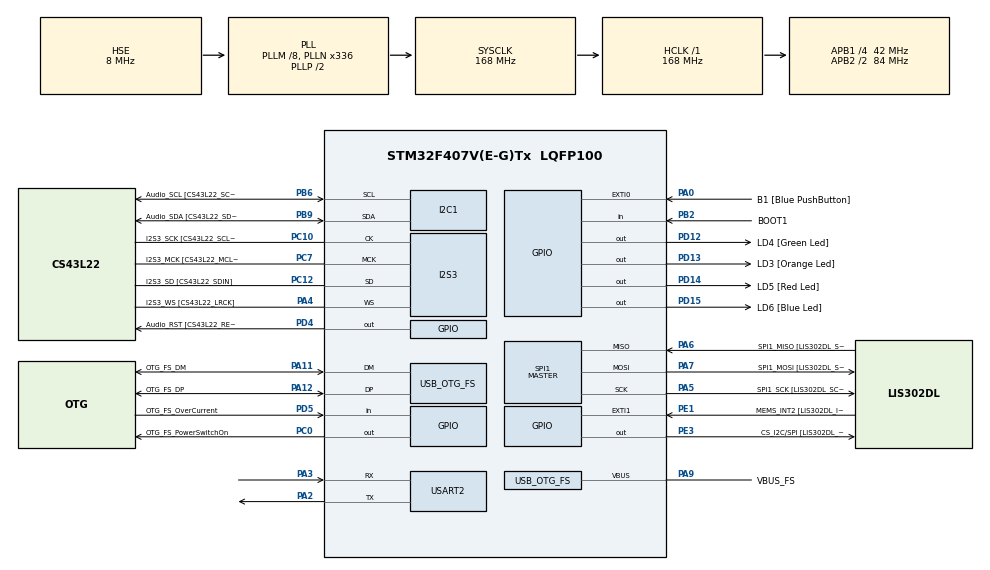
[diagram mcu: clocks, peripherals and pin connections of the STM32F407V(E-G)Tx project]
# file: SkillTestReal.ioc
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FREERTOS.Tasks01=defaultTask,0,128,StartDefaultTask,Default,NULL
FREERTOS.configUSE_TIMERS=1
I2S3.AudioFreq-Half_Duplex_Master=I2S_AUDIOFREQ_96K
I2S3.ErrorAudioFreq=-2.34 %
I2S3.ErrorAudioFreq-Half_Duplex_Master=0.8 %
I2S3.FullDuplexMode=I2S_FULLDUPLEXMODE_DISABLE
I2S3.Instance=SPI$Index
I2S3.RealAudioFreq=93.75 KHz
I2S3.RealAudioFreq-Half_Duplex_Master=96.774 KHz
I2S3.VirtualMode=I2S_MODE_MASTER
Mcu.Family=STM32F4
Mcu.Name=STM32F407V(E-G)Tx
Mcu.Package=LQFP100
NVIC.EXTI0_IRQn=true\:0\:0\:false\:false\:true\:false\:true\:true
NVIC.OTG_FS_IRQn=true\:5\:0\:false\:false\:true\:true\:true\:true
NVIC.PriorityGroup=NVIC_PRIORITYGROUP_4
PA0-WKUP.GPIO_Label=B1 [Blue PushButton]
PA0-WKUP.GPIO_ModeDefaultEXTI=GPIO_MODE_IT_RISING
PA0-WKUP.GPIO_PuPd=GPIO_NOPULL
PA0-WKUP.Signal=GPXTI0
PA10.GPIO_Label=OTG_FS_ID
PA10.GPIO_Mode=GPIO_MODE_AF_PP
PA10.GPIO_PuPd=GPIO_NOPULL
PA10.GPIO_Speed=GPIO_SPEED_FREQ_LOW
PA10.Signal=USB_OTG_FS_ID
PA11.GPIO_Label=OTG_FS_DM
PA11.GPIO_Mode=GPIO_MODE_AF_PP
PA11.GPIO_PuPd=GPIO_NOPULL
PA11.GPIO_Speed=GPIO_SPEED_FREQ_LOW
PA11.Mode=Host_Only
PA11.Signal=USB_OTG_FS_DM
PA12.GPIO_Label=OTG_FS_DP
PA12.GPIO_Mode=GPIO_MODE_AF_PP
PA12.GPIO_PuPd=GPIO_NOPULL
PA12.GPIO_Speed=GPIO_SPEED_FREQ_LOW
PA12.Mode=Host_Only
PA12.Signal=USB_OTG_FS_DP
PA13.GPIO_Label=SWDIO
PA13.Mode=Serial_Wire
PA13.Signal=SYS_JTMS-SWDIO
PA14.GPIO_Label=SWCLK
PA14.Mode=Serial_Wire
PA14.Signal=SYS_JTCK-SWCLK
PA2.Mode=Asynchronous
PA2.Signal=USART2_TX
PA3.Mode=Asynchronous
PA3.Signal=USART2_RX
PA4.GPIO_Label=I2S3_WS [CS43L22_LRCK]
PA4.GPIO_Mode=GPIO_MODE_AF_PP
PA4.GPIO_PuPd=GPIO_NOPULL
PA4.GPIO_Speed=GPIO_SPEED_FREQ_LOW
PA4.Mode=Half_Duplex_Master
PA4.Signal=I2S3_WS
PA5.GPIO_Label=SPI1_SCK [LIS302DL_SCL/SPC]
PA5.GPIO_Mode=GPIO_MODE_AF_PP
PA5.GPIO_PuPd=GPIO_NOPULL
PA5.GPIO_Speed=GPIO_SPEED_FREQ_LOW
PA5.Mode=Full_Duplex_Master
PA5.Signal=SPI1_SCK
PA6.GPIO_Label=SPI1_MISO [LIS302DL_SDO]
PA6.GPIO_Mode=GPIO_MODE_AF_PP
PA6.GPIO_PuPd=GPIO_NOPULL
PA6.GPIO_Speed=GPIO_SPEED_FREQ_LOW
PA6.Mode=Full_Duplex_Master
PA6.Signal=SPI1_MISO
PA7.GPIO_Label=SPI1_MOSI [LIS302DL_SDA/SDI/SDO]
PA7.GPIO_Mode=GPIO_MODE_AF_PP
PA7.GPIO_PuPd=GPIO_NOPULL
PA7.GPIO_Speed=GPIO_SPEED_FREQ_LOW
PA7.Mode=Full_Duplex_Master
PA7.Signal=SPI1_MOSI
PA9.GPIO_Label=VBUS_FS
PA9.GPIO_Mode=GPIO_MODE_INPUT
PA9.GPIO_PuPd=GPIO_NOPULL
PA9.Mode=Activate_VBUS
PA9.Signal=USB_OTG_FS_VBUS
PB10.GPIO_Label=CLK_IN [MP45DT02_CLK]
PB10.GPIO_Mode=GPIO_MODE_AF_PP
PB10.GPIO_PuPd=GPIO_NOPULL
PB10.GPIO_Speed=GPIO_SPEED_FREQ_LOW
PB10.Signal=I2S2_CK
PB2.GPIO_Label=BOOT1
PB2.GPIO_Mode=GPIO_MODE_INPUT
PB2.GPIO_PuPd=GPIO_NOPULL
PB2.Signal=GPIO_Input
PB3.GPIO_Label=SWO
PB3.Signal=SYS_JTDO-SWO
PB6.GPIO_Label=Audio_SCL [CS43L22_SCL]
PB6.GPIO_Mode=GPIO_MODE_AF_OD
PB6.GPIO_PuPd=GPIO_NOPULL
PB6.GPIO_Speed=GPIO_SPEED_FREQ_LOW
PB6.Mode=I2C
PB6.Signal=I2C1_SCL
PB9.GPIO_Label=Audio_SDA [CS43L22_SDA]
PB9.GPIO_Mode=GPIO_MODE_AF_OD
PB9.GPIO_PuPd=GPIO_NOPULL
PB9.GPIO_Speed=GPIO_SPEED_FREQ_LOW
PB9.Mode=I2C
PB9.Signal=I2C1_SDA
PC0.GPIO_Label=OTG_FS_PowerSwitchOn
PC0.GPIO_PuPd=GPIO_NOPULL
PC0.GPIO_Speed=GPIO_SPEED_FREQ_LOW
PC0.PinState=GPIO_PIN_SET
PC0.Signal=GPIO_Output
PC10.GPIO_Label=I2S3_SCK [CS43L22_SCLK]
PC10.GPIO_Mode=GPIO_MODE_AF_PP
PC10.GPIO_PuPd=GPIO_NOPULL
PC10.GPIO_Speed=GPIO_SPEED_FREQ_LOW
PC10.Mode=Half_Duplex_Master
PC10.Signal=I2S3_CK
PC12.GPIO_Label=I2S3_SD [CS43L22_SDIN]
PC12.GPIO_Mode=GPIO_MODE_AF_PP
PC12.GPIO_PuPd=GPIO_NOPULL
PC12.GPIO_Speed=GPIO_SPEED_FREQ_LOW
PC12.Mode=Half_Duplex_Master
PC12.Signal=I2S3_SD
PC14-OSC32_IN.GPIO_Label=PC14-OSC32_IN
PC14-OSC32_IN.Mode=LSE-External-Oscillator
PC14-OSC32_IN.Signal=RCC_OSC32_IN
PC15-OSC32_OUT.GPIO_Label=PC15-OSC32_OUT
PC15-OSC32_OUT.Mode=LSE-External-Oscillator
PC15-OSC32_OUT.Signal=RCC_OSC32_OUT
PC3.GPIO_Label=PDM_OUT [MP45DT02_DOUT]
PC3.GPIO_Mode=GPIO_MODE_AF_PP
PC3.GPIO_PuPd=GPIO_NOPULL
PC3.GPIO_Speed=GPIO_SPEED_FREQ_LOW
PC3.Signal=I2S2_SD
PC7.GPIO_Label=I2S3_MCK [CS43L22_MCLK]
PC7.GPIO_Mode=GPIO_MODE_AF_PP
PC7.GPIO_PuPd=GPIO_NOPULL
PC7.GPIO_Speed=GPIO_SPEED_FREQ_LOW
PC7.Mode=Master_Clock_Activated
PC7.Signal=I2S3_MCK
PD12.GPIO_Label=LD4 [Green Led]
PD12.GPIO_PuPd=GPIO_NOPULL
PD12.GPIO_Speed=GPIO_SPEED_FREQ_LOW
PD12.Signal=GPIO_Output
PD13.GPIO_Label=LD3 [Orange Led]
PD13.GPIO_PuPd=GPIO_NOPULL
PD13.GPIO_Speed=GPIO_SPEED_FREQ_LOW
PD13.Signal=GPIO_Output
PD14.GPIO_Label=LD5 [Red Led]
PD14.GPIO_PuPd=GPIO_NOPULL
PD14.GPIO_Speed=GPIO_SPEED_FREQ_LOW
PD14.Signal=GPIO_Output
PD15.GPIO_Label=LD6 [Blue Led]
PD15.GPIO_PuPd=GPIO_NOPULL
PD15.GPIO_Speed=GPIO_SPEED_FREQ_LOW
PD15.Signal=GPIO_Output
PD4.GPIO_Label=Audio_RST [CS43L22_RESET]
PD4.GPIO_PuPd=GPIO_NOPULL
PD4.GPIO_Speed=GPIO_SPEED_FREQ_LOW
PD4.Signal=GPIO_Output
PD5.GPIO_Label=OTG_FS_OverCurrent
PD5.GPIO_Mode=GPIO_MODE_INPUT
PD5.GPIO_PuPd=GPIO_NOPULL
PD5.Signal=GPIO_Input
PE1.GPIO_Label=MEMS_INT2 [LIS302DL_INT2]
PE1.GPIO_ModeDefaultEXTI=GPIO_MODE_EVT_RISING
PE1.GPIO_PuPd=GPIO_NOPULL
PE1.Signal=GPXTI1
PE3.GPIO_Label=CS_I2C/SPI [LIS302DL_CS_I2C/SPI]
PE3.GPIO_PuPd=GPIO_NOPULL
PE3.GPIO_Speed=GPIO_SPEED_FREQ_LOW
PE3.Signal=GPIO_Output
PH0-OSC_IN.GPIO_Label=PH0-OSC_IN
PH0-OSC_IN.Mode=HSE-External-Oscillator
PH0-OSC_IN.Signal=RCC_OSC_IN
PH1-OSC_OUT.GPIO_Label=PH1-OSC_OUT
PH1-OSC_OUT.Mode=HSE-External-Oscillator
PH1-OSC_OUT.Signal=RCC_OSC_OUT
ProjectManager.HeapSize=0x200
ProjectManager.StackSize=0x400
ProjectManager.TargetToolchain=STM32CubeIDE
RCC.48MHZClocksFreq_Value=48000000
RCC.AHBFreq_Value=168000000
RCC.APB1CLKDivider=RCC_HCLK_DIV4
RCC.APB1Freq_Value=42000000
RCC.APB1TimFreq_Value=84000000
RCC.APB2CLKDivider=RCC_HCLK_DIV2
RCC.APB2Freq_Value=84000000
RCC.APB2TimFreq_Value=168000000
RCC.CortexFreq_Value=168000000
RCC.HCLKFreq_Value=168000000
RCC.HSE_VALUE=8000000
RCC.HSI_VALUE=16000000
RCC.PLLM=8
RCC.PLLN=336
RCC.PLLQ=7
RCC.SYSCLKFreq_VALUE=168000000
RCC.SYSCLKSource=RCC_SYSCLKSOURCE_PLLCLK
RCC.VCOOutputFreq_Value=336000000
SPI1.BaudRatePrescaler-Full_Duplex_Master=SPI_BAUDRATEPRESCALER_2
SPI1.CalculateBaudRate-Full_Duplex_Master=42.0 MBits/s
SPI1.Direction=SPI_DIRECTION_2LINES
SPI1.Mode=SPI_MODE_MASTER
SPI1.Mode-Full_Duplex_Master=SPI_MODE_MASTER
SPI1.VirtualType=VM_MASTER
USART2.VirtualMode=VM_ASYNC
USB_HOST.BSP.number=1
USB_HOST.USBH_HandleTypeDef-CDC_FS=hUsbHostFS
USB_HOST.USBH_USE_OS-CDC_FS=0
USB_HOST.VirtualModeFS=Cdc
USB_HOST0.BSP.STBoard=false
USB_HOST0.BSP.api=Unknown
USB_HOST0.BSP.i2caddr=0
USB_HOST0.BSP.i2creg=0
USB_HOST0.BSP.instance=PC0
USB_HOST0.BSP.ip=GPIO
USB_HOST0.BSP.mode=Output
USB_HOST0.BSP.name=Drive_VBUS_FS
USB_HOST0.BSP.solution=PC0
USB_OTG_FS.VirtualMode=Host_Only
USB_OTG_FS.phy_itface=HCD_PHY_EMBEDDED
VP_FREERTOS_VS_CMSIS_V1.Mode=CMSIS_V1
VP_USB_HOST_VS_USB_HOST_CDC_FS.Mode=CDC_FS
board=STM32F4DISCOVERY

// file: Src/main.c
/* USER CODE BEGIN Header */
/**
  ******************************************************************************
  * @file           : main.c
  * @brief          : Main program body
  ******************************************************************************
  * @attention
  *
  * <h2><center>&copy; Copyright (c) 2019 STMicroelectronics.
  * All rights reserved.</center></h2>
  *
  * This software component is licensed by ST under Ultimate Liberty license
  * SLA0044, the "License"; You may not use this file except in compliance with
  * the License. You may obtain a copy of the License at:
  *                             www.st.com/SLA0044
  *
  ******************************************************************************
  */
/* USER CODE END Header */

#include "main.h"
#include "cmsis_os.h"
#include "usb_host.h"

I2C_HandleTypeDef hi2c1;

I2S_HandleTypeDef hi2s3;

SPI_HandleTypeDef hspi1;

UART_HandleTypeDef huart2;

osThreadId defaultTaskHandle;

void SystemClock_Config(void);
static void MX_GPIO_Init(void);
static void MX_I2C1_Init(void);
static void MX_I2S3_Init(void);
static void MX_SPI1_Init(void);
static void MX_USART2_UART_Init(void);
void StartDefaultTask(void const * argument);

/* USER CODE BEGIN 0 */

//skilltestskilltestskilltestskilltestskilltestskilltestskilltestskilltestskilltest
//skilltestskilltestskilltestskilltestskilltestskilltestskilltestskilltestskilltest

// for skill test 2 sec 2 - change text and time in button interrupt
// thread for toggle LED (1)
void blinkRed(){
	HAL_GPIO_TogglePin(GPIOD, GPIO_PIN_14);
}
void blinkGreen(){
	HAL_GPIO_TogglePin(GPIOD, GPIO_PIN_12);
}

// thread for transmitting(2)
int time = 1000;
char text[10] = "Hello\n" ;
void spam(){
	HAL_UART_Transmit(&huart2, text, sizeof(text), HAL_MAX_DELAY);
	osDelay(time);
}

//button interrupt(3)
int state = 0 ;

void HAL_GPIO_EXTI_Callback(uint16_t GPIO_Pinx){
	if(state == 0){
		sprintf(text,"World\r\n");
		time = 500 ;
		state = 1 ;
	}
	else {
		if(state ==1){
			sprintf(text,"Hello\r\n");
			time = 1000 ;
			state = 0;
		}
	}
	HAL_Delay(100);

}

//skilltestskilltestskilltestskilltestskilltestskilltestskilltestskilltestskilltest
//skilltestskilltestskilltestskilltestskilltestskilltestskilltestskilltestskilltest

/* USER CODE END 0 */

int main(void)
{
  /* USER CODE BEGIN 1 */
//skilltestskilltestskilltestskilltestskilltestskilltestskilltestskilltestskilltest
//skilltestskilltestskilltestskilltestskilltestskilltestskilltestskilltestskilltest

		osTimerDef(bR, blinkRed);
		osTimerId bRhandle = osTimerCreate(osTimer(bR), osTimerPeriodic, NULL);
		osTimerStart(bRhandle, 50);

		osTimerDef(bG, blinkGreen);
		osTimerId bGhandle = osTimerCreate(osTimer(bG), osTimerPeriodic, NULL);
		osTimerStart(bGhandle, 50);

		osTimerDef(sp, spam);
		osTimerId sphandle = osTimerCreate(osTimer(sp), osTimerPeriodic, NULL);
		osTimerStart(sphandle, 1000);

//skilltestskilltestskilltestskilltestskilltestskilltestskilltestskilltestskilltest
//skilltestskilltestskilltestskilltestskilltestskilltestskilltestskilltestskilltest

  /* USER CODE END 1 */

  /* MCU Configuration--------------------------------------------------------*/

  /* Reset of all peripherals, Initializes the Flash interface and the Systick. */
  HAL_Init();

  /* Configure the system clock */
  SystemClock_Config();

  /* Initialize all configured peripherals */
  MX_GPIO_Init();
  MX_I2C1_Init();
  MX_I2S3_Init();
  MX_SPI1_Init();
  MX_USART2_UART_Init();

  /* Create the thread(s) */
  /* definition and creation of defaultTask */
  osThreadDef(defaultTask, StartDefaultTask, osPriorityNormal, 0, 128);
  defaultTaskHandle = osThreadCreate(osThread(defaultTask), NULL);

  /* Start scheduler */
  osKernelStart();

  /* We should never get here as control is now taken by the scheduler */

  /* Infinite loop */
  while (1)
  {

  }
}

void SystemClock_Config(void)
{
  RCC_OscInitTypeDef RCC_OscInitStruct = {0};
  RCC_ClkInitTypeDef RCC_ClkInitStruct = {0};
  RCC_PeriphCLKInitTypeDef PeriphClkInitStruct = {0};

  /** Configure the main internal regulator output voltage
  */
  __HAL_RCC_PWR_CLK_ENABLE();
  __HAL_PWR_VOLTAGESCALING_CONFIG(PWR_REGULATOR_VOLTAGE_SCALE1);
  /** Initializes the CPU, AHB and APB busses clocks
  */
  RCC_OscInitStruct.OscillatorType = RCC_OSCILLATORTYPE_HSE;
  RCC_OscInitStruct.HSEState = RCC_HSE_ON;
  RCC_OscInitStruct.PLL.PLLState = RCC_PLL_ON;
  RCC_OscInitStruct.PLL.PLLSource = RCC_PLLSOURCE_HSE;
  RCC_OscInitStruct.PLL.PLLM = 8;
  RCC_OscInitStruct.PLL.PLLN = 336;
  RCC_OscInitStruct.PLL.PLLP = RCC_PLLP_DIV2;
  RCC_OscInitStruct.PLL.PLLQ = 7;
  if (HAL_RCC_OscConfig(&RCC_OscInitStruct) != HAL_OK)
  {
    Error_Handler();
  }
  /** Initializes the CPU, AHB and APB busses clocks
  */
  RCC_ClkInitStruct.ClockType = RCC_CLOCKTYPE_HCLK|RCC_CLOCKTYPE_SYSCLK
                              |RCC_CLOCKTYPE_PCLK1|RCC_CLOCKTYPE_PCLK2;
  RCC_ClkInitStruct.SYSCLKSource = RCC_SYSCLKSOURCE_PLLCLK;
  RCC_ClkInitStruct.AHBCLKDivider = RCC_SYSCLK_DIV1;
  RCC_ClkInitStruct.APB1CLKDivider = RCC_HCLK_DIV4;
  RCC_ClkInitStruct.APB2CLKDivider = RCC_HCLK_DIV2;

  if (HAL_RCC_ClockConfig(&RCC_ClkInitStruct, FLASH_LATENCY_5) != HAL_OK)
  {
    Error_Handler();
  }
  PeriphClkInitStruct.PeriphClockSelection = RCC_PERIPHCLK_I2S;
  PeriphClkInitStruct.PLLI2S.PLLI2SN = 192;
  PeriphClkInitStruct.PLLI2S.PLLI2SR = 2;
  if (HAL_RCCEx_PeriphCLKConfig(&PeriphClkInitStruct) != HAL_OK)
  {
    Error_Handler();
  }
}

static void MX_I2C1_Init(void)
{

  hi2c1.Instance = I2C1;
  hi2c1.Init.ClockSpeed = 100000;
  hi2c1.Init.DutyCycle = I2C_DUTYCYCLE_2;
  hi2c1.Init.OwnAddress1 = 0;
  hi2c1.Init.AddressingMode = I2C_ADDRESSINGMODE_7BIT;
  hi2c1.Init.DualAddressMode = I2C_DUALADDRESS_DISABLE;
  hi2c1.Init.OwnAddress2 = 0;
  hi2c1.Init.GeneralCallMode = I2C_GENERALCALL_DISABLE;
  hi2c1.Init.NoStretchMode = I2C_NOSTRETCH_DISABLE;
  if (HAL_I2C_Init(&hi2c1) != HAL_OK)
  {
    Error_Handler();
  }

}

static void MX_I2S3_Init(void)
{

  hi2s3.Instance = SPI3;
  hi2s3.Init.Mode = I2S_MODE_MASTER_TX;
  hi2s3.Init.Standard = I2S_STANDARD_PHILIPS;
  hi2s3.Init.DataFormat = I2S_DATAFORMAT_16B;
  hi2s3.Init.MCLKOutput = I2S_MCLKOUTPUT_ENABLE;
  hi2s3.Init.AudioFreq = I2S_AUDIOFREQ_96K;
  hi2s3.Init.CPOL = I2S_CPOL_LOW;
  hi2s3.Init.ClockSource = I2S_CLOCK_PLL;
  hi2s3.Init.FullDuplexMode = I2S_FULLDUPLEXMODE_DISABLE;
  if (HAL_I2S_Init(&hi2s3) != HAL_OK)
  {
    Error_Handler();
  }

}

static void MX_SPI1_Init(void)
{

  /* SPI1 parameter configuration*/
  hspi1.Instance = SPI1;
  hspi1.Init.Mode = SPI_MODE_MASTER;
  hspi1.Init.Direction = SPI_DIRECTION_2LINES;
  hspi1.Init.DataSize = SPI_DATASIZE_8BIT;
  hspi1.Init.CLKPolarity = SPI_POLARITY_LOW;
  hspi1.Init.CLKPhase = SPI_PHASE_1EDGE;
  hspi1.Init.NSS = SPI_NSS_SOFT;
  hspi1.Init.BaudRatePrescaler = SPI_BAUDRATEPRESCALER_2;
  hspi1.Init.FirstBit = SPI_FIRSTBIT_MSB;
  hspi1.Init.TIMode = SPI_TIMODE_DISABLE;
  hspi1.Init.CRCCalculation = SPI_CRCCALCULATION_DISABLE;
  hspi1.Init.CRCPolynomial = 10;
  if (HAL_SPI_Init(&hspi1) != HAL_OK)
  {
    Error_Handler();
  }

}

static void MX_USART2_UART_Init(void)
{

  huart2.Instance = USART2;
  huart2.Init.BaudRate = 115200;
  huart2.Init.WordLength = UART_WORDLENGTH_8B;
  huart2.Init.StopBits = UART_STOPBITS_1;
  huart2.Init.Parity = UART_PARITY_NONE;
  huart2.Init.Mode = UART_MODE_TX_RX;
  huart2.Init.HwFlowCtl = UART_HWCONTROL_NONE;
  huart2.Init.OverSampling = UART_OVERSAMPLING_16;
  if (HAL_UART_Init(&huart2) != HAL_OK)
  {
    Error_Handler();
  }

}

static void MX_GPIO_Init(void)
{
  GPIO_InitTypeDef GPIO_InitStruct = {0};

  /* GPIO Ports Clock Enable */
  __HAL_RCC_GPIOE_CLK_ENABLE();
  __HAL_RCC_GPIOC_CLK_ENABLE();
  __HAL_RCC_GPIOH_CLK_ENABLE();
  __HAL_RCC_GPIOA_CLK_ENABLE();
  __HAL_RCC_GPIOB_CLK_ENABLE();
  __HAL_RCC_GPIOD_CLK_ENABLE();

  /*Configure GPIO pin Output Level */
  HAL_GPIO_WritePin(CS_I2C_SPI_GPIO_Port, CS_I2C_SPI_Pin, GPIO_PIN_RESET);

  /*Configure GPIO pin Output Level */
  HAL_GPIO_WritePin(OTG_FS_PowerSwitchOn_GPIO_Port, OTG_FS_PowerSwitchOn_Pin, GPIO_PIN_SET);

  /*Configure GPIO pin Output Level */
  HAL_GPIO_WritePin(GPIOD, LD4_Pin|LD3_Pin|LD5_Pin|LD6_Pin
                          |Audio_RST_Pin, GPIO_PIN_RESET);

  /*Configure GPIO pin : CS_I2C_SPI_Pin */
  GPIO_InitStruct.Pin = CS_I2C_SPI_Pin;
  GPIO_InitStruct.Mode = GPIO_MODE_OUTPUT_PP;
  GPIO_InitStruct.Pull = GPIO_NOPULL;
  GPIO_InitStruct.Speed = GPIO_SPEED_FREQ_LOW;
  HAL_GPIO_Init(CS_I2C_SPI_GPIO_Port, &GPIO_InitStruct);

  /*Configure GPIO pin : OTG_FS_PowerSwitchOn_Pin */
  GPIO_InitStruct.Pin = OTG_FS_PowerSwitchOn_Pin;
  GPIO_InitStruct.Mode = GPIO_MODE_OUTPUT_PP;
  GPIO_InitStruct.Pull = GPIO_NOPULL;
  GPIO_InitStruct.Speed = GPIO_SPEED_FREQ_LOW;
  HAL_GPIO_Init(OTG_FS_PowerSwitchOn_GPIO_Port, &GPIO_InitStruct);

  /*Configure GPIO pin : PDM_OUT_Pin */
  GPIO_InitStruct.Pin = PDM_OUT_Pin;
  GPIO_InitStruct.Mode = GPIO_MODE_AF_PP;
  GPIO_InitStruct.Pull = GPIO_NOPULL;
  GPIO_InitStruct.Speed = GPIO_SPEED_FREQ_LOW;
  GPIO_InitStruct.Alternate = GPIO_AF5_SPI2;
  HAL_GPIO_Init(PDM_OUT_GPIO_Port, &GPIO_InitStruct);

  /*Configure GPIO pin : B1_Pin */
  GPIO_InitStruct.Pin = B1_Pin;
  GPIO_InitStruct.Mode = GPIO_MODE_IT_RISING;
  GPIO_InitStruct.Pull = GPIO_NOPULL;
  HAL_GPIO_Init(B1_GPIO_Port, &GPIO_InitStruct);

  /*Configure GPIO pin : BOOT1_Pin */
  GPIO_InitStruct.Pin = BOOT1_Pin;
  GPIO_InitStruct.Mode = GPIO_MODE_INPUT;
  GPIO_InitStruct.Pull = GPIO_NOPULL;
  HAL_GPIO_Init(BOOT1_GPIO_Port, &GPIO_InitStruct);

  /*Configure GPIO pin : CLK_IN_Pin */
  GPIO_InitStruct.Pin = CLK_IN_Pin;
  GPIO_InitStruct.Mode = GPIO_MODE_AF_PP;
  GPIO_InitStruct.Pull = GPIO_NOPULL;
  GPIO_InitStruct.Speed = GPIO_SPEED_FREQ_LOW;
  GPIO_InitStruct.Alternate = GPIO_AF5_SPI2;
  HAL_GPIO_Init(CLK_IN_GPIO_Port, &GPIO_InitStruct);

  /*Configure GPIO pins : LD4_Pin LD3_Pin LD5_Pin LD6_Pin
                           Audio_RST_Pin */
  GPIO_InitStruct.Pin = LD4_Pin|LD3_Pin|LD5_Pin|LD6_Pin
                          |Audio_RST_Pin;
  GPIO_InitStruct.Mode = GPIO_MODE_OUTPUT_PP;
  GPIO_InitStruct.Pull = GPIO_NOPULL;
  GPIO_InitStruct.Speed = GPIO_SPEED_FREQ_LOW;
  HAL_GPIO_Init(GPIOD, &GPIO_InitStruct);

  /*Configure GPIO pin : OTG_FS_OverCurrent_Pin */
  GPIO_InitStruct.Pin = OTG_FS_OverCurrent_Pin;
  GPIO_InitStruct.Mode = GPIO_MODE_INPUT;
  GPIO_InitStruct.Pull = GPIO_NOPULL;
  HAL_GPIO_Init(OTG_FS_OverCurrent_GPIO_Port, &GPIO_InitStruct);

  /*Configure GPIO pin : MEMS_INT2_Pin */
  GPIO_InitStruct.Pin = MEMS_INT2_Pin;
  GPIO_InitStruct.Mode = GPIO_MODE_EVT_RISING;
  GPIO_InitStruct.Pull = GPIO_NOPULL;
  HAL_GPIO_Init(MEMS_INT2_GPIO_Port, &GPIO_InitStruct);

  /* EXTI interrupt init*/
  HAL_NVIC_SetPriority(EXTI0_IRQn, 0, 0);
  HAL_NVIC_EnableIRQ(EXTI0_IRQn);

}

void StartDefaultTask(void const * argument)
{

  /* init code for USB_HOST */
  MX_USB_HOST_Init();

  for(;;)
  {
    osDelay(1);
  }
}

void Error_Handler(void)
{
}

/************************ (C) COPYRIGHT STMicroelectronics *****END OF FILE****/

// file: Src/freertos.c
/* USER CODE BEGIN Header */
/**
  ******************************************************************************
  * File Name          : freertos.c
  * Description        : Code for freertos applications
  ******************************************************************************
  * @attention
  *
  * <h2><center>&copy; Copyright (c) 2019 STMicroelectronics.
  * All rights reserved.</center></h2>
  *
  * This software component is licensed by ST under Ultimate Liberty license
  * SLA0044, the "License"; You may not use this file except in compliance with
  * the License. You may obtain a copy of the License at:
  *                             www.st.com/SLA0044
  *
  ******************************************************************************
  */
/* USER CODE END Header */

#include "FreeRTOS.h"
#include "task.h"
#include "main.h"

/* GetIdleTaskMemory prototype (linked to static allocation support) */
void vApplicationGetIdleTaskMemory( StaticTask_t **ppxIdleTaskTCBBuffer, StackType_t **ppxIdleTaskStackBuffer, uint32_t *pulIdleTaskStackSize );

/* GetTimerTaskMemory prototype (linked to static allocation support) */
void vApplicationGetTimerTaskMemory( StaticTask_t **ppxTimerTaskTCBBuffer, StackType_t **ppxTimerTaskStackBuffer, uint32_t *pulTimerTaskStackSize );

/* USER CODE BEGIN GET_IDLE_TASK_MEMORY */
static StaticTask_t xIdleTaskTCBBuffer;
static StackType_t xIdleStack[configMINIMAL_STACK_SIZE];

void vApplicationGetIdleTaskMemory( StaticTask_t **ppxIdleTaskTCBBuffer, StackType_t **ppxIdleTaskStackBuffer, uint32_t *pulIdleTaskStackSize )
{
  *ppxIdleTaskTCBBuffer = &xIdleTaskTCBBuffer;
  *ppxIdleTaskStackBuffer = &xIdleStack[0];
  *pulIdleTaskStackSize = configMINIMAL_STACK_SIZE;
  /* place for user code */
}
/* USER CODE END GET_IDLE_TASK_MEMORY */

/* USER CODE BEGIN GET_TIMER_TASK_MEMORY */
static StaticTask_t xTimerTaskTCBBuffer;
static StackType_t xTimerStack[configTIMER_TASK_STACK_DEPTH];

void vApplicationGetTimerTaskMemory( StaticTask_t **ppxTimerTaskTCBBuffer, StackType_t **ppxTimerTaskStackBuffer, uint32_t *pulTimerTaskStackSize )
{
  *ppxTimerTaskTCBBuffer = &xTimerTaskTCBBuffer;
  *ppxTimerTaskStackBuffer = &xTimerStack[0];
  *pulTimerTaskStackSize = configTIMER_TASK_STACK_DEPTH;
  /* place for user code */
}
/* USER CODE END GET_TIMER_TASK_MEMORY */

/************************ (C) COPYRIGHT STMicroelectronics *****END OF FILE****/
